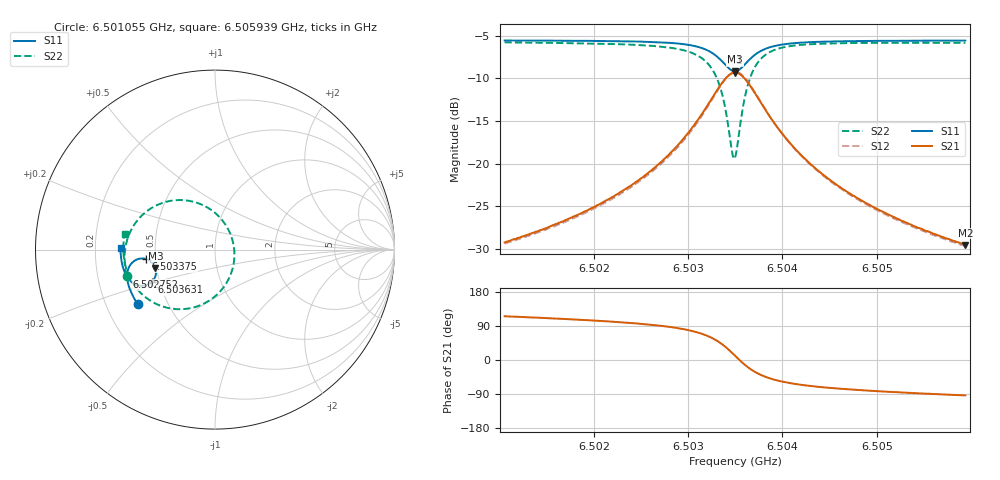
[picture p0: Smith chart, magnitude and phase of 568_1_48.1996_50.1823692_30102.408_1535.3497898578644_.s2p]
#  HZ  S  RI  R  50.00
! Rohde & Schwarz Vector Network Analyzer
! Rohde-Schwarz,ZNB20-2Port,1311601062101988,3.16
! Created: UTC 3/20/2024, 12:01:34 PM
! freq[Hz]  re:S11  im:S11  re:S21  im:S21  re:S12  im:S12  re:S22  im:S22
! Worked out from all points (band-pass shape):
!   401 points, 6.501055 GHz to 6.505939 GHz, reference 50 ohm
!   highest |S21| = -9.34 dB at 6.503497 GHz (marker M1); lowest = -29.5 dB at 6.505939 GHz (marker M2)
!   |S21| within 3 dB of the highest: 6.503253 GHz to 6.503742 GHz (488.2 kHz wide, 0.00751 % of centre)
!   lowest |S11| = -9.2 dB at 6.503497 GHz (marker M3), VSWR 2.06, Z = 24.6 - j5.77 ohm
!   |S11| at or under -10 dB: nowhere
!   |S22| runs from -19.4 to -5.8 dB; largest |S21 - S12| = 0.011
!   S11 on the Smith chart (normalised r, x): 6.501055 GHz: 0.34, -0.28; 6.502752 GHz: 0.33, -0.14; 6.503375 GHz: 0.44, -0.05; 6.503631 GHz: 0.45, -0.19; 6.505939 GHz: 0.31, +0.01
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6.5010548e9  -0.4309 -0.3035  -0.0148 0.0311  -0.0132 0.0313  -0.492 -0.1462
6.501873e9  -0.4655 -0.2421  -0.0141 0.0492  -0.0116 0.0489  -0.5038 -0.0578
6.5023248e9  -0.4808 -0.2014  -0.0109 0.0693  -0.00789 0.0682  -0.4998 0.00826
6.5026911e9  -0.4891 -0.1599  -0.00128 0.0995  0.00213 0.0971  -0.4789 0.0838
6.5027522e9  -0.4897 -0.1516  0.0018 0.1068  0.00541 0.1041  -0.4719 0.0999
6.5029719e9  -0.486 -0.1165  0.024 0.1424  0.0277 0.138  -0.4254 0.1707
6.5031307e9  -0.4711 -0.0842  0.0637 0.1784  0.0663 0.1729  -0.3486 0.2346
6.5032772e9  -0.4331 -0.0544  0.1457 0.2076  0.1461 0.2016  -0.1993 0.2761
6.5033261e9  -0.4118 -0.0494  0.1885 0.2062  0.1885 0.2009  -0.1241 0.2676
6.5033749e9  -0.3864 -0.0514  0.2377 0.1912  0.2377 0.1868  -0.0399 0.2334
6.5034604e9  -0.3429 -0.0807  0.3167 0.1161  0.3193 0.1124  0.0864 0.0859
6.503497e9  -0.3318 -0.103  0.3347 0.067  0.3387 0.0621  0.1076 -0.00635
6.5035214e9  -0.3288 -0.1194  0.3381 0.0321  0.3425 0.0258  0.1054 -0.0701
6.5035581e9  -0.331 -0.1437  0.3308 -0.0185  0.3347 -0.027  0.0782 -0.16
6.5036313e9  -0.3532 -0.1814  0.2839 -0.0957  0.2843 -0.1069  -0.0326 -0.2846
6.5037412e9  -0.3994 -0.2018  0.1962 -0.1414  0.1912 -0.1512  -0.2103 -0.3318
6.5039e9  -0.447 -0.1923  0.1116 -0.1375  0.1046 -0.1429  -0.3627 -0.283
6.5040709e9  -0.4751 -0.1709  0.0656 -0.1163  0.0593 -0.1187  -0.437 -0.216
6.5043151e9  -0.4962 -0.1411  0.0349 -0.0909  0.03 -0.0916  -0.4813 -0.1421
6.5046815e9  -0.5118 -0.102  0.0154 -0.0667  0.012 -0.0665  -0.5042 -0.0665
6.5051333e9  -0.5213 -0.0598  0.00532 -0.0496  0.00293 -0.0489  -0.5106 -0.000703
6.5059392e9  -0.5264 0.00897  -0.00201 -0.0333  -0.00338 -0.0326  -0.5034 0.0864
